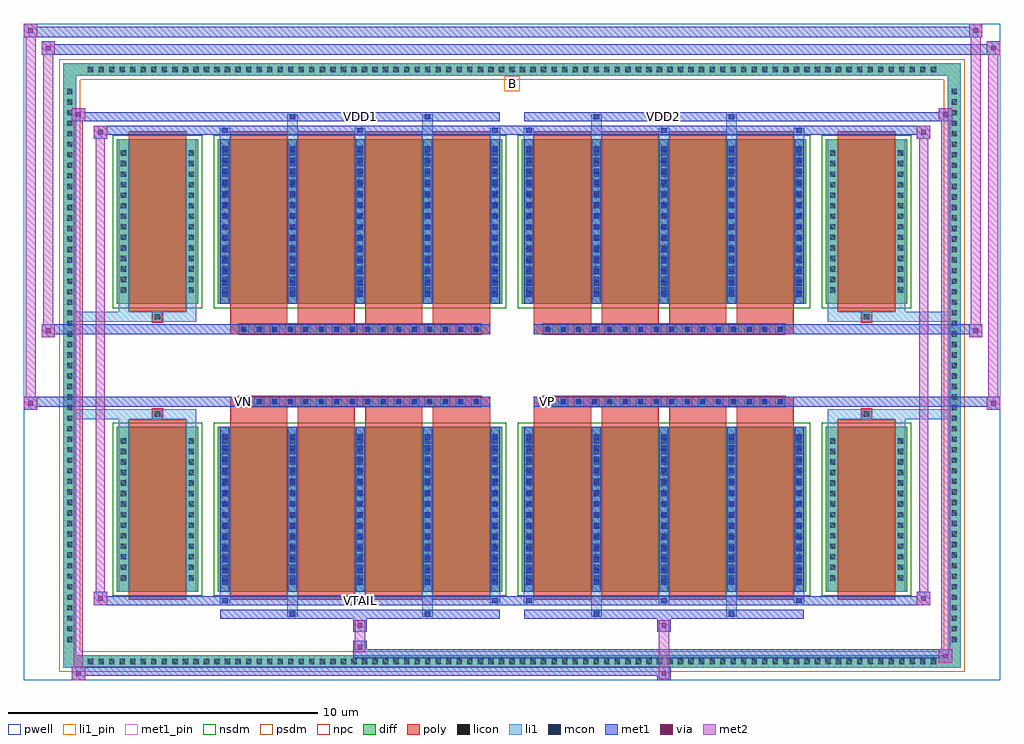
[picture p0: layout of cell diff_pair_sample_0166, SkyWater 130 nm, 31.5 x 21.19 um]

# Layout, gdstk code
import gdstk
lib = gdstk.Library(unit=1e-6, precision=5e-09)
def R(c, l, rs):  # rectangles x0, y0, x1, y1
    for r in rs: c.add(gdstk.rectangle(r[:2], r[2:], *l))
def A(c, l, x, y, w, h, nx, ny, dx, dy):  # array of equal rectangles
    R(c, l, [(x+i*dx, y+j*dy, x+i*dx+w, y+j*dy+h) for i in range(nx) for j in range(ny)])
def P(c, l, *ps):  # polygons
    for p in ps: c.add(gdstk.Polygon(p, *l))
pwell = (64, 44)
diff = (65, 20)
poly = (66, 20)
licon = (66, 44)
li1_pin = (67, 16)
li1 = (67, 20)
mcon = (67, 44)
met1_pin = (68, 16)
met1 = (68, 20)
via = (68, 44)
met2 = (69, 20)
nsdm = (93, 44)
psdm = (94, 20)
npc = (95, 20)

diff_pair_sample_0166 = lib.new_cell('diff_pair_sample_0166')
R(diff_pair_sample_0166, pwell, [(-15.75,-10.16,15.75,11.03), (-13.07,-8.35,-0.01,-0.805), (0.01,-8.35,13.07,-0.805), (-13.07,0.805,-0.01,8.35), (0.01,0.805,13.07,8.35)])
A(diff_pair_sample_0166, diff, -13.805, -9.76, 0.41, 0.41, 81, 2, 0.34, 19.11)
A(diff_pair_sample_0166, diff, -14.48, -9.045, 0.41, 0.41, 1, 53, 0, 0.34)
A(diff_pair_sample_0166, diff, 14.07, -9.045, 0.41, 0.41, 1, 53, 0, 0.34)
R(diff_pair_sample_0166, diff, [(-13.805,-9.76,13.805,-9.35), (-14.48,-9.045,-14.07,9.045), (14.07,-9.045,14.48,9.045), (-12.76,-7.305,-10.13,-1.985), (-9.49,-7.305,-0.32,-1.985), (0.32,-7.305,9.49,-1.985), (10.13,-7.305,12.76,-1.985), (-12.76,1.985,-10.13,7.305), (-9.49,1.985,-0.32,7.305), (0.32,1.985,9.49,7.305), (10.13,1.985,12.76,7.305), (-13.805,9.35,13.805,9.76)])
P(diff_pair_sample_0166, diff, [(14.48,9.76),(-14.48,9.76),(-14.48,-9.35),(-14.07,-9.35),(-14.07,9.35),(14.07,9.35),(14.07,-9.35),(-14.07,-9.35),(-14.48,-9.35),(-14.48,-9.76),(14.48,-9.76)])
A(diff_pair_sample_0166, poly, -9.1, -7.555, 1.85, 5.82, 4, 2, 2.18, 9.29)
A(diff_pair_sample_0166, poly, 0.71, -7.555, 1.85, 5.82, 4, 2, 2.18, 9.29)
A(diff_pair_sample_0166, poly, -9.1, -1.735, 1.85, 0.4, 4, 2, 2.18, 3.07)
A(diff_pair_sample_0166, poly, 0.71, -1.735, 1.85, 0.4, 4, 2, 2.18, 3.07)
A(diff_pair_sample_0166, poly, -8.82, -1.335, 0.33, 0.33, 16, 2, 0.5, 2.34)
A(diff_pair_sample_0166, poly, 0.99, -1.335, 0.33, 0.33, 16, 2, 0.5, 2.34)
R(diff_pair_sample_0166, poly, [(-12.37,-7.555,-10.52,-1.735), (10.52,-7.555,12.37,-1.735), (-11.61,-1.735,-11.28,-1.405), (-11.61,-1.735,-11.28,-1.405), (11.28,-1.735,11.61,-1.405), (11.28,-1.735,11.61,-1.405), (-9.1,-1.335,-0.71,-1.005), (0.71,-1.335,9.1,-1.005), (-9.1,1.005,-0.71,1.335), (0.71,1.005,9.1,1.335), (-11.61,1.405,-11.28,1.735), (-11.61,1.405,-11.28,1.735), (11.28,1.405,11.61,1.735), (11.28,1.405,11.61,1.735), (-12.37,1.735,-10.52,7.555), (10.52,1.735,12.37,7.555)])
A(diff_pair_sample_0166, licon, -13.685, -9.64, 0.17, 0.17, 81, 2, 0.34, 19.11)
A(diff_pair_sample_0166, licon, -14.36, -8.925, 0.17, 0.17, 1, 53, 0, 0.34)
A(diff_pair_sample_0166, licon, 14.19, -8.925, 0.17, 0.17, 1, 53, 0, 0.34)
A(diff_pair_sample_0166, licon, -12.62, -6.94, 0.17, 0.17, 1, 14, 0, 0.34)
A(diff_pair_sample_0166, licon, -10.44, -6.94, 0.17, 0.17, 1, 14, 0, 0.34)
A(diff_pair_sample_0166, licon, -9.35, -6.94, 0.17, 0.17, 5, 14, 2.18, 0.34)
A(diff_pair_sample_0166, licon, 0.46, -6.94, 0.17, 0.17, 5, 14, 2.18, 0.34)
A(diff_pair_sample_0166, licon, 10.27, -6.94, 0.17, 0.17, 1, 14, 0, 0.34)
A(diff_pair_sample_0166, licon, 12.45, -6.94, 0.17, 0.17, 1, 14, 0, 0.34)
A(diff_pair_sample_0166, licon, -8.74, -1.255, 0.17, 0.17, 16, 2, 0.5, 2.34)
A(diff_pair_sample_0166, licon, 1.07, -1.255, 0.17, 0.17, 16, 2, 0.5, 2.34)
A(diff_pair_sample_0166, licon, -12.62, 2.35, 0.17, 0.17, 1, 14, 0, 0.34)
A(diff_pair_sample_0166, licon, -10.44, 2.35, 0.17, 0.17, 1, 14, 0, 0.34)
A(diff_pair_sample_0166, licon, -9.35, 2.35, 0.17, 0.17, 5, 14, 2.18, 0.34)
A(diff_pair_sample_0166, licon, 0.46, 2.35, 0.17, 0.17, 5, 14, 2.18, 0.34)
A(diff_pair_sample_0166, licon, 10.27, 2.35, 0.17, 0.17, 1, 14, 0, 0.34)
A(diff_pair_sample_0166, licon, 12.45, 2.35, 0.17, 0.17, 1, 14, 0, 0.34)
R(diff_pair_sample_0166, licon, [(-11.53,-1.655,-11.36,-1.485), (11.36,-1.655,11.53,-1.485), (-11.53,1.485,-11.36,1.655), (11.36,1.485,11.53,1.655)])
R(diff_pair_sample_0166, li1_pin, [(-0.25,8.85,0.25,9.35)])
A(diff_pair_sample_0166, li1, -13.765, -9.72, 0.33, 0.33, 81, 2, 0.34, 19.11)
A(diff_pair_sample_0166, li1, -14.44, -9.005, 0.33, 0.33, 1, 53, 0, 0.34)
A(diff_pair_sample_0166, li1, 14.11, -9.005, 0.33, 0.33, 1, 53, 0, 0.34)
A(diff_pair_sample_0166, li1, -9.43, -7.68, 0.33, 0.375, 3, 2, 4.36, 14.985)
A(diff_pair_sample_0166, li1, -9.35, -7.68, 0.17, 0.17, 3, 2, 4.36, 15.19)
A(diff_pair_sample_0166, li1, 0.38, -7.68, 0.33, 0.375, 3, 2, 4.36, 14.985)
A(diff_pair_sample_0166, li1, 0.46, -7.68, 0.17, 0.17, 3, 2, 4.36, 15.19)
A(diff_pair_sample_0166, li1, -9.43, -7.305, 0.33, 5.32, 5, 2, 2.18, 9.29)
A(diff_pair_sample_0166, li1, 0.38, -7.305, 0.33, 5.32, 5, 2, 2.18, 9.29)
A(diff_pair_sample_0166, li1, -9.35, -7.07, 0.17, 0.17, 5, 14, 2.18, 0.36)
A(diff_pair_sample_0166, li1, -9.35, -7.07, 0.17, 4.85, 5, 2, 2.18, 9.29)
A(diff_pair_sample_0166, li1, 0.46, -7.07, 0.17, 0.17, 5, 14, 2.18, 0.36)
A(diff_pair_sample_0166, li1, 0.46, -7.07, 0.17, 4.85, 5, 2, 2.18, 9.29)
A(diff_pair_sample_0166, li1, -12.7, -7.02, 0.33, 0.33, 1, 14, 0, 0.34)
A(diff_pair_sample_0166, li1, -10.52, -7.02, 0.33, 0.33, 1, 14, 0, 0.34)
A(diff_pair_sample_0166, li1, -9.43, -7.02, 0.33, 0.33, 5, 14, 2.18, 0.34)
A(diff_pair_sample_0166, li1, 0.38, -7.02, 0.33, 0.33, 5, 14, 2.18, 0.34)
A(diff_pair_sample_0166, li1, 10.19, -7.02, 0.33, 0.33, 1, 14, 0, 0.34)
A(diff_pair_sample_0166, li1, 12.37, -7.02, 0.33, 0.33, 1, 14, 0, 0.34)
A(diff_pair_sample_0166, li1, -8.82, -1.335, 0.33, 0.33, 16, 2, 0.5, 2.34)
A(diff_pair_sample_0166, li1, 0.99, -1.335, 0.33, 0.33, 16, 2, 0.5, 2.34)
A(diff_pair_sample_0166, li1, -9.35, 2.22, 0.17, 0.17, 5, 14, 2.18, 0.36)
A(diff_pair_sample_0166, li1, 0.46, 2.22, 0.17, 0.17, 5, 14, 2.18, 0.36)
A(diff_pair_sample_0166, li1, -12.7, 2.27, 0.33, 0.33, 1, 14, 0, 0.34)
A(diff_pair_sample_0166, li1, -10.52, 2.27, 0.33, 0.33, 1, 14, 0, 0.34)
A(diff_pair_sample_0166, li1, -9.43, 2.27, 0.33, 0.33, 5, 14, 2.18, 0.34)
A(diff_pair_sample_0166, li1, 0.38, 2.27, 0.33, 0.33, 5, 14, 2.18, 0.34)
A(diff_pair_sample_0166, li1, 10.19, 2.27, 0.33, 0.33, 1, 14, 0, 0.34)
A(diff_pair_sample_0166, li1, 12.37, 2.27, 0.33, 0.33, 1, 14, 0, 0.34)
R(diff_pair_sample_0166, li1, [(-14.48,-9.76,-14.07,-9.35), (-14.48,-9.76,-14.07,-9.35), (-14.07,-9.76,14.07,-9.35), (14.07,-9.76,14.48,-9.35), (14.07,-9.76,14.48,-9.35), (-14.48,-9.35,-14.07,9.35), (14.07,-9.35,14.48,9.35), (-7.25,-8.11,-6.92,-7.305), (-7.17,-8.11,-7,-7.94), (-2.89,-8.11,-2.56,-7.305), (-2.81,-8.11,-2.64,-7.94), (2.56,-8.11,2.89,-7.305), (2.64,-8.11,2.81,-7.94), (6.92,-8.11,7.25,-7.305), (7,-8.11,7.17,-7.94), (-12.7,-7.305,-12.37,-1.985), (-10.52,-7.305,-10.19,-1.985), (10.19,-7.305,10.52,-1.985), (12.37,-7.305,12.7,-1.985), (-12.7,-1.985,-12.37,-1.405), (-10.52,-1.985,-10.19,-1.405), (10.19,-1.985,10.52,-1.405), (12.37,-1.985,12.7,-1.405), (-14.48,-1.735,-11.61,-1.405), (-12.7,-1.735,-11.61,-1.405), (-11.61,-1.735,-11.28,-1.405), (-11.28,-1.735,-10.19,-1.405), (10.19,-1.735,11.28,-1.405), (11.28,-1.735,11.61,-1.405), (11.28,-1.735,14.48,-1.405), (11.61,-1.735,12.7,-1.405), (-14.48,1.405,-11.61,1.735), (-12.7,1.405,-11.61,1.735), (-12.7,1.405,-12.37,1.985), (-11.61,1.405,-11.28,1.735), (-11.28,1.405,-10.19,1.735), (-10.52,1.405,-10.19,1.985), (10.19,1.405,11.28,1.735), (10.19,1.405,10.52,1.985), (11.28,1.405,11.61,1.735), (11.28,1.405,14.48,1.735), (11.61,1.405,12.7,1.735), (12.37,1.405,12.7,1.985), (-12.7,1.985,-12.37,7.305), (-10.52,1.985,-10.19,7.305), (10.19,1.985,10.52,7.305), (12.37,1.985,12.7,7.305), (-7.25,7.305,-6.92,8.11), (-2.89,7.305,-2.56,8.11), (2.56,7.305,2.89,8.11), (6.92,7.305,7.25,8.11), (-7.17,7.94,-7,8.11), (-2.81,7.94,-2.64,8.11), (2.64,7.94,2.81,8.11), (7,7.94,7.17,8.11), (-14.48,9.35,-14.07,9.76), (-14.48,9.35,-14.07,9.76), (-14.07,9.35,14.07,9.76), (14.07,9.35,14.48,9.76), (14.07,9.35,14.48,9.76)])
A(diff_pair_sample_0166, mcon, -9.35, -7.68, 0.17, 0.17, 3, 2, 4.36, 15.19)
A(diff_pair_sample_0166, mcon, 0.46, -7.68, 0.17, 0.17, 3, 2, 4.36, 15.19)
A(diff_pair_sample_0166, mcon, -9.35, -7.07, 0.17, 0.17, 5, 14, 2.18, 0.36)
A(diff_pair_sample_0166, mcon, 0.46, -7.07, 0.17, 0.17, 5, 14, 2.18, 0.36)
A(diff_pair_sample_0166, mcon, -8.74, -1.255, 0.17, 0.17, 16, 2, 0.5, 2.34)
A(diff_pair_sample_0166, mcon, 1.07, -1.255, 0.17, 0.17, 16, 2, 0.5, 2.34)
A(diff_pair_sample_0166, mcon, -9.35, 2.22, 0.17, 0.17, 5, 14, 2.18, 0.36)
A(diff_pair_sample_0166, mcon, 0.46, 2.22, 0.17, 0.17, 5, 14, 2.18, 0.36)
R(diff_pair_sample_0166, mcon, [(-7.17,-8.11,-7,-7.94), (-2.81,-8.11,-2.64,-7.94), (2.64,-8.11,2.81,-7.94), (7,-8.11,7.17,-7.94), (-7.17,7.94,-7,8.11), (-2.81,7.94,-2.64,8.11), (2.64,7.94,2.81,8.11), (7,7.94,7.17,8.11)])
R(diff_pair_sample_0166, met1_pin, [(-5.04,-7.72,-4.77,-7.45), (-8.79,-1.295,-8.52,-1.025), (1.02,-1.295,1.29,-1.025), (-5.04,7.9,-4.77,8.17), (4.77,7.9,5.04,8.17)])
A(diff_pair_sample_0166, met1, -9.41, -7.74, 0.29, 0.29, 3, 2, 4.36, 15.19)
A(diff_pair_sample_0166, met1, 0.4, -7.74, 0.29, 0.29, 3, 2, 4.36, 15.19)
A(diff_pair_sample_0166, met1, -9.41, -7.305, 0.29, 5.32, 5, 2, 2.18, 9.29)
A(diff_pair_sample_0166, met1, 0.4, -7.305, 0.29, 5.32, 5, 2, 2.18, 9.29)
A(diff_pair_sample_0166, met1, -9.41, -7.13, 0.29, 0.29, 5, 14, 2.18, 0.36)
A(diff_pair_sample_0166, met1, 0.4, -7.13, 0.29, 0.29, 5, 14, 2.18, 0.36)
A(diff_pair_sample_0166, met1, -8.8, -1.315, 0.29, 0.29, 16, 2, 0.5, 2.34)
A(diff_pair_sample_0166, met1, 1.01, -1.315, 0.29, 0.29, 16, 2, 0.5, 2.34)
A(diff_pair_sample_0166, met1, -9.41, 2.16, 0.29, 0.29, 5, 14, 2.18, 0.36)
A(diff_pair_sample_0166, met1, 0.4, 2.16, 0.29, 0.29, 5, 14, 2.18, 0.36)
R(diff_pair_sample_0166, met1, [(-14.21,-10.16,-13.78,-9.73), (4.69,-10.16,5.12,-9.73), (-14.21,-10.02,5.12,-9.73), (13.78,-9.59,14.21,-9.16), (-5.12,-9.45,14.21,-9.16), (-5.12,-9.31,-4.69,-8.88), (-5.12,-8.6,-4.69,-8.17), (4.69,-8.6,5.12,-8.17), (-9.41,-8.17,-0.4,-7.88), (-7.23,-8.17,-6.94,-7.88), (-2.87,-8.17,-2.58,-7.88), (0.4,-8.17,9.41,-7.88), (2.58,-8.17,2.87,-7.88), (6.94,-8.17,7.23,-7.88), (-13.5,-7.74,-13.07,-7.31), (-13.5,-7.74,-9.41,-7.45), (-9.41,-7.74,-0.4,-7.45), (-0.4,-7.74,0.4,-7.45), (0.4,-7.74,9.41,-7.45), (9.41,-7.74,13.5,-7.45), (13.07,-7.74,13.5,-7.31), (-15.75,-1.435,-15.32,-1.005), (15.32,-1.435,15.75,-1.005), (-15.75,-1.335,-0.71,-1.005), (-9.1,-1.335,-0.71,-1.005), (0.71,-1.335,9.1,-1.005), (0.71,-1.335,15.75,-1.005), (-15.18,0.905,-14.75,1.335), (14.75,0.905,15.18,1.335), (-15.18,1.005,-9.1,1.335), (-9.1,1.005,-0.71,1.335), (0.71,1.005,9.1,1.335), (9.1,1.005,15.18,1.335), (-13.5,7.31,-13.07,7.74), (13.07,7.31,13.5,7.74), (-13.5,7.45,-9.41,7.74), (-9.41,7.45,-0.4,7.74), (-0.4,7.45,0.4,7.74), (0.4,7.45,9.41,7.74), (9.41,7.45,13.5,7.74), (-14.21,7.88,-13.78,8.31), (-14.21,7.88,-9.41,8.17), (-9.41,7.88,-0.4,8.17), (-7.23,7.88,-6.94,8.17), (-2.87,7.88,-2.58,8.17), (0.4,7.88,9.41,8.17), (2.58,7.88,2.87,8.17), (6.94,7.88,7.23,8.17), (9.41,7.88,14.21,8.17), (13.78,7.88,14.21,8.31), (-15.18,10.03,-14.75,10.46), (-15.18,10.03,-13.07,10.36), (-13.07,10.03,13.07,10.36), (13.07,10.03,15.75,10.36), (15.32,10.03,15.75,10.46), (-15.75,10.6,-15.32,11.03), (-15.75,10.6,-13.07,10.93), (-13.07,10.6,13.07,10.93), (13.07,10.6,15.18,10.93), (14.75,10.6,15.18,11.03)])
R(diff_pair_sample_0166, via, [(-14.07,-10.02,-13.92,-9.87), (4.83,-10.02,4.98,-9.87), (13.92,-9.45,14.07,-9.3), (-4.98,-9.17,-4.83,-9.02), (-4.98,-8.46,-4.83,-8.31), (4.83,-8.46,4.98,-8.31), (-13.36,-7.6,-13.21,-7.45), (13.21,-7.6,13.36,-7.45), (-15.61,-1.295,-15.46,-1.145), (15.46,-1.295,15.61,-1.145), (-15.04,1.045,-14.89,1.195), (14.89,1.045,15.04,1.195), (-13.36,7.45,-13.21,7.6), (13.21,7.45,13.36,7.6), (-14.07,8.02,-13.92,8.17), (13.92,8.02,14.07,8.17), (-15.04,10.17,-14.89,10.32), (15.46,10.17,15.61,10.32), (-15.61,10.74,-15.46,10.89), (14.89,10.74,15.04,10.89)])
R(diff_pair_sample_0166, met2, [(-14.21,-10.16,-13.78,-9.73), (-14.14,-10.16,-13.85,8.31), (-13.85,-10.16,-13.78,-9.73), (-14.16,-10.11,-13.83,-9.78), (4.74,-10.11,5.07,-9.78), (4.74,-9.78,5.07,-8.55), (13.78,-9.59,14.21,-9.16), (13.85,-9.59,14.14,8.31), (14.14,-9.59,14.21,-9.16), (13.83,-9.54,14.16,-9.21), (-5.07,-9.26,-4.74,-8.93), (-5.07,-8.93,-4.74,-8.55), (-5.07,-8.55,-4.74,-8.22), (4.74,-8.55,5.07,-8.22), (-13.5,-7.74,-13.07,-7.31), (-13.43,-7.74,-13.14,7.74), (-13.14,-7.74,-13.07,-7.31), (13.07,-7.74,13.5,-7.31), (13.14,-7.74,13.43,7.74), (13.43,-7.74,13.5,-7.31), (-13.45,-7.69,-13.12,-7.36), (13.12,-7.69,13.45,-7.36), (-15.75,-1.435,-15.32,-1.005), (-15.7,-1.435,-15.37,11.03), (-15.37,-1.435,-15.32,-1.005), (15.32,-1.435,15.75,-1.005), (15.37,-1.435,15.7,10.46), (15.7,-1.435,15.75,-1.005), (-15.7,-1.385,-15.37,-1.055), (15.37,-1.385,15.7,-1.055), (-15.18,0.905,-14.75,1.335), (-15.13,0.905,-14.8,10.46), (-14.8,0.905,-14.75,1.335), (14.75,0.905,15.18,1.335), (14.8,0.905,15.13,11.03), (15.13,0.905,15.18,1.335), (-15.13,0.955,-14.8,1.285), (14.8,0.955,15.13,1.285), (-13.5,7.31,-13.07,7.74), (-13.14,7.31,-13.07,7.74), (13.07,7.31,13.5,7.74), (13.43,7.31,13.5,7.74), (-13.45,7.36,-13.12,7.69), (13.12,7.36,13.45,7.69), (-14.21,7.88,-13.78,8.31), (-13.85,7.88,-13.78,8.31), (13.78,7.88,14.21,8.31), (14.14,7.88,14.21,8.31), (-14.16,7.93,-13.83,8.26), (13.83,7.93,14.16,8.26), (-15.18,10.03,-14.75,10.46), (-14.8,10.03,-14.75,10.46), (15.32,10.03,15.75,10.46), (15.7,10.03,15.75,10.46), (-15.13,10.08,-14.8,10.41), (15.37,10.08,15.7,10.41), (-15.75,10.6,-15.32,11.03), (-15.37,10.6,-15.32,11.03), (14.75,10.6,15.18,11.03), (15.13,10.6,15.18,11.03), (-15.7,10.65,-15.37,10.98), (14.8,10.65,15.13,10.98)])
R(diff_pair_sample_0166, nsdm, [(-12.89,-7.435,-10,-1.855), (-9.62,-7.435,-0.19,-1.855), (0.19,-7.435,9.62,-1.855), (10,-7.435,12.89,-1.855), (-12.89,1.855,-10,7.435), (-9.62,1.855,-0.19,7.435), (0.19,1.855,9.62,7.435), (10,1.855,12.89,7.435)])
P(diff_pair_sample_0166, psdm, [(14.61,9.89),(-14.61,9.89),(-14.61,-9.22),(-13.94,-9.22),(-13.94,9.22),(13.94,9.22),(13.94,-9.22),(-13.94,-9.22),(-14.61,-9.22),(-14.61,-9.89),(14.61,-9.89)])
A(diff_pair_sample_0166, npc, -8.84, -1.355, 0.37, 0.37, 16, 2, 0.5, 2.34)
A(diff_pair_sample_0166, npc, 0.97, -1.355, 0.37, 0.37, 16, 2, 0.5, 2.34)
R(diff_pair_sample_0166, npc, [(-11.63,-1.755,-11.26,-1.385), (11.26,-1.755,11.63,-1.385), (-8.84,-1.355,-7.97,-0.985), (-8.84,-1.355,-7.97,-0.985), (-8.34,-1.355,-7.47,-0.985), (-8.34,-1.355,-7.47,-0.985), (-7.84,-1.355,-6.97,-0.985), (-7.84,-1.355,-6.97,-0.985), (-7.34,-1.355,-6.47,-0.985), (-7.34,-1.355,-6.47,-0.985), (-6.84,-1.355,-5.97,-0.985), (-6.84,-1.355,-5.97,-0.985), (-6.34,-1.355,-5.47,-0.985), (-6.34,-1.355,-5.47,-0.985), (-5.84,-1.355,-4.97,-0.985), (-5.84,-1.355,-4.97,-0.985), (-5.34,-1.355,-4.47,-0.985), (-5.34,-1.355,-4.47,-0.985), (-4.84,-1.355,-3.97,-0.985), (-4.84,-1.355,-3.97,-0.985), (-4.34,-1.355,-3.47,-0.985), (-4.34,-1.355,-3.47,-0.985), (-3.84,-1.355,-2.97,-0.985), (-3.84,-1.355,-2.97,-0.985), (-3.34,-1.355,-2.47,-0.985), (-3.34,-1.355,-2.47,-0.985), (-2.84,-1.355,-1.97,-0.985), (-2.84,-1.355,-1.97,-0.985), (-2.34,-1.355,-1.47,-0.985), (-2.34,-1.355,-1.47,-0.985), (-1.84,-1.355,-0.97,-0.985), (-1.84,-1.355,-0.97,-0.985), (0.97,-1.355,1.84,-0.985), (0.97,-1.355,1.84,-0.985), (1.47,-1.355,2.34,-0.985), (1.47,-1.355,2.34,-0.985), (1.97,-1.355,2.84,-0.985), (1.97,-1.355,2.84,-0.985), (2.47,-1.355,3.34,-0.985), (2.47,-1.355,3.34,-0.985), (2.97,-1.355,3.84,-0.985), (2.97,-1.355,3.84,-0.985), (3.47,-1.355,4.34,-0.985), (3.47,-1.355,4.34,-0.985), (3.97,-1.355,4.84,-0.985), (3.97,-1.355,4.84,-0.985), (4.47,-1.355,5.34,-0.985), (4.47,-1.355,5.34,-0.985), (4.97,-1.355,5.84,-0.985), (4.97,-1.355,5.84,-0.985), (5.47,-1.355,6.34,-0.985), (5.47,-1.355,6.34,-0.985), (5.97,-1.355,6.84,-0.985), (5.97,-1.355,6.84,-0.985), (6.47,-1.355,7.34,-0.985), (6.47,-1.355,7.34,-0.985), (6.97,-1.355,7.84,-0.985), (6.97,-1.355,7.84,-0.985), (7.47,-1.355,8.34,-0.985), (7.47,-1.355,8.34,-0.985), (7.97,-1.355,8.84,-0.985), (7.97,-1.355,8.84,-0.985), (-8.84,0.985,-7.97,1.355), (-8.84,0.985,-7.97,1.355), (-8.34,0.985,-7.47,1.355), (-8.34,0.985,-7.47,1.355), (-7.84,0.985,-6.97,1.355), (-7.84,0.985,-6.97,1.355), (-7.34,0.985,-6.47,1.355), (-7.34,0.985,-6.47,1.355), (-6.84,0.985,-5.97,1.355), (-6.84,0.985,-5.97,1.355), (-6.34,0.985,-5.47,1.355), (-6.34,0.985,-5.47,1.355), (-5.84,0.985,-4.97,1.355), (-5.84,0.985,-4.97,1.355), (-5.34,0.985,-4.47,1.355), (-5.34,0.985,-4.47,1.355), (-4.84,0.985,-3.97,1.355), (-4.84,0.985,-3.97,1.355), (-4.34,0.985,-3.47,1.355), (-4.34,0.985,-3.47,1.355), (-3.84,0.985,-2.97,1.355), (-3.84,0.985,-2.97,1.355), (-3.34,0.985,-2.47,1.355), (-3.34,0.985,-2.47,1.355), (-2.84,0.985,-1.97,1.355), (-2.84,0.985,-1.97,1.355), (-2.34,0.985,-1.47,1.355), (-2.34,0.985,-1.47,1.355), (-1.84,0.985,-0.97,1.355), (-1.84,0.985,-0.97,1.355), (0.97,0.985,1.84,1.355), (0.97,0.985,1.84,1.355), (1.47,0.985,2.34,1.355), (1.47,0.985,2.34,1.355), (1.97,0.985,2.84,1.355), (1.97,0.985,2.84,1.355), (2.47,0.985,3.34,1.355), (2.47,0.985,3.34,1.355), (2.97,0.985,3.84,1.355), (2.97,0.985,3.84,1.355), (3.47,0.985,4.34,1.355), (3.47,0.985,4.34,1.355), (3.97,0.985,4.84,1.355), (3.97,0.985,4.84,1.355), (4.47,0.985,5.34,1.355), (4.47,0.985,5.34,1.355), (4.97,0.985,5.84,1.355), (4.97,0.985,5.84,1.355), (5.47,0.985,6.34,1.355), (5.47,0.985,6.34,1.355), (5.97,0.985,6.84,1.355), (5.97,0.985,6.84,1.355), (6.47,0.985,7.34,1.355), (6.47,0.985,7.34,1.355), (6.97,0.985,7.84,1.355), (6.97,0.985,7.84,1.355), (7.47,0.985,8.34,1.355), (7.47,0.985,8.34,1.355), (7.97,0.985,8.84,1.355), (7.97,0.985,8.84,1.355), (-11.63,1.385,-11.26,1.755), (11.26,1.385,11.63,1.755)])
diff_pair_sample_0166.add(gdstk.Label('VTAIL', (-4.905,-7.585), layer=68, texttype=5))
diff_pair_sample_0166.add(gdstk.Label('VN', (-8.655,-1.16), layer=68, texttype=5))
diff_pair_sample_0166.add(gdstk.Label('VP', (1.155,-1.16), layer=68, texttype=5))
diff_pair_sample_0166.add(gdstk.Label('B', (0,9.1), layer=67, texttype=5))
diff_pair_sample_0166.add(gdstk.Label('VDD2', (4.905,8.035), layer=68, texttype=5))
diff_pair_sample_0166.add(gdstk.Label('VDD1', (-4.905,8.035), layer=68, texttype=5))

lib.write_gds('diff_pair_sample_0166.gds')
